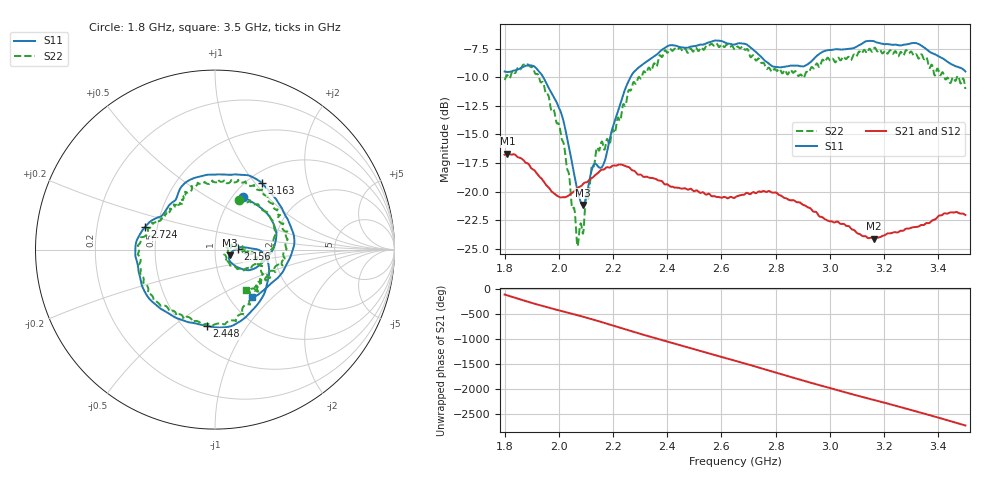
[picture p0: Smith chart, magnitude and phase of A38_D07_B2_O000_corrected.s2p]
! Created with skrf 1.9.0 (http://scikit-rf.org).
# Hz S RI R 50.0
!freq ReS11 ImS11 ReS21 ImS21 ReS12 ImS12 ReS22 ImS22
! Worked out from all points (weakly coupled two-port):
!   1601 points, 1.8 GHz to 3.5 GHz, reference 50 ohm
!   highest |S21| = -16.67 dB at 1.811 GHz (marker M1); lowest = -24.1 dB at 3.162 GHz (marker M2)
!   lowest |S11| = -21.2 dB at 2.089 GHz (marker M3), VSWR 1.19, Z = 58.7 - j3.85 ohm
!   |S11| at or under -10 dB: 1.943 GHz to 2.264 GHz (321.7 MHz wide, 15.3 % of centre)
!   |S22| runs from -24.8 to -7.0 dB; largest |S21 - S12| = 0.0026
!   S11 on the Smith chart (normalised r, x): 1.8 GHz: 1.12, +0.74; 2.156 GHz: 1.29, +0.00; 2.448 GHz: 0.64, -0.67; 2.724 GHz: 0.43, +0.13; 3.163 GHz: 1.15, +1.08; 3.5 GHz: 1.27, -0.75
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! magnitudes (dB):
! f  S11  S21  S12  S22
! 1.8 GHz  -9.5  -16.8  -16.8  -10.2
! 1.811 GHz  -9.5  -16.7  -16.7  -9.8
! 1.883 GHz  -9.0  -17.5  -17.5  -8.9
! 1.941 GHz  -9.9  -19.0  -19.0  -10.4
! 2.011 GHz  -13.3  -20.5  -20.5  -15.5
! 2.067 GHz  -19.7  -19.7  -19.7  -24.4
! 2.084 GHz  -21.0  -19.5  -19.4  -23.0
! 2.089 GHz  -21.2  -19.3  -19.4  -23.7
! 2.127 GHz  -17.7  -18.7  -18.7  -17.8
! 2.156 GHz  -17.9  -18.1  -18.1  -15.7
! 2.189 GHz  -15.3  -17.9  -17.9  -15.8
! 2.261 GHz  -10.1  -17.9  -17.9  -11.1
! 2.367 GHz  -7.9  -19.0  -19.0  -8.4
! 2.448 GHz  -7.4  -19.7  -19.7  -7.4
! 2.65 GHz  -7.1  -20.5  -20.5  -7.6
! 2.724 GHz  -7.7  -20.1  -20.1  -8.4
! 2.798 GHz  -9.1  -20.1  -20.1  -9.3
! 2.934 GHz  -8.6  -21.6  -21.6  -9.1
! 3.162 GHz  -6.8  -24.1  -24.1  -7.5
! 3.163 GHz  -6.9  -24.1  -24.1  -7.5
! 3.217 GHz  -7.1  -23.6  -23.6  -7.8
! 3.5 GHz  -9.5  -22.0  -22.0  -11.0
